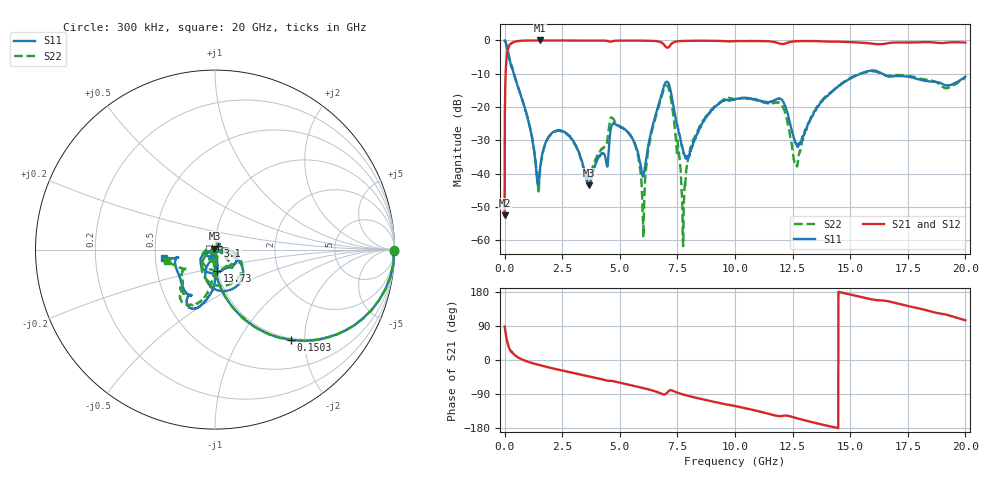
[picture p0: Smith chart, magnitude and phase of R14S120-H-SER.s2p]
!{R14S120}
!Johanson Technology Inc.
!www.johansontechnology.com
!Test Board Conditions:
!Substrate Type  RO4350B
!Substrate Thickness  20 mil
!Substrate Dk  3.66
!TL Type: GCPW
!TL Trace Width  36 mil
!TL Gap  12 mil
!Electrode orientation  Horizontal
!DUT TOPOLOGY	SERIES
!Mounting Pad LxW  26x36 mil
! Created Wed Nov 25 17:33:21 2020
! 2 Port Network Data from SP1.SP block
! freq  magS11  angS11  magS21  angS21  magS12  angS12  magS22  angS22
# khz S ma R 50
! decimated to every 10th point (10 MHz spacing) of the original 1 MHz Johanson file; values unchanged
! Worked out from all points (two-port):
!   2001 points, 300 kHz to 20 GHz, reference 50 ohm
!   highest |S21| = 0.00 dB at 1.52 GHz (marker M1); lowest = -52.6 dB at 300 kHz (marker M2)
!   |S21| within 3 dB of the highest: 133.4 MHz to end of sweep
!   lowest |S11| = -43.5 dB at 3.65 GHz (marker M3), VSWR 1.01, Z = 49.7 + j0.591 ohm
!   |S11| at or under -10 dB: 400.2 MHz to 15.46 GHz (15.06 GHz wide, 190 % of centre); 16.4 GHz to end of sweep
!   |S22| runs from -61.8 to 0.0 dB; largest |S21 - S12| = 0.019
!   S11 on the Smith chart (normalised r, x): 300 kHz: open; 150.3 MHz: 0.97, -1.72; 3.1 GHz: 1.03, +0.04; 13.73 GHz: 0.99, -0.24; 20 GHz: 0.56, -0.06
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300  0.9967 -0.3  0.002344 88.2  0.002157 90.0  0.9959 -0.3
150300  0.6569 -50.0  0.7483 40.0  0.7506 39.8  0.6594 -49.8
500300  0.2441 -79.4  0.9678 10.2  0.9676 10.2  0.2449 -79.6
1520300  0.01039 41.5  0.9995 -13.6  0.9989 -13.5  0.009423 105.5
2080300  0.04139 56.8  0.9982 -22.0  0.9984 -21.9  0.04106 77.3
3100300  0.02629 50.4  0.9975 -35.8  0.9977 -35.8  0.02567 54.4
3340300  0.01599 56.8  0.9988 -39.0  0.9977 -39.0  0.0155 37.4
3650300  0.006663 116.9  0.9971 -43.1  0.9971 -43.1  0.00843 -32.5
4690300  0.05557 -140.5  0.974 -55.3  0.9747 -55.4  0.06774 -112.0
5610300  0.03034 -160.9  0.9943 -68.3  0.9946 -68.3  0.02939 -143.1
6020300  0.009455 -86.1  0.992 -74.1  0.9925 -74.1  0.0011 -68.3
6670300  0.1039 -19.0  0.9664 -85.5  0.9658 -85.5  0.09611 -3.0
7150300  0.2109 -94.8  0.8122 -80.4  0.8113 -80.5  0.1762 -104.3
7760300  0.02135 -100.7  0.9848 -91.3  0.9838 -91.3  0.001193 -60.0
8400300  0.0421 -3.9  0.9893 -101.0  0.9888 -101.0  0.04517 -29.8
1.00003e7  0.1297 -23.9  0.9763 -121.3  0.976 -121.4  0.132 -46.4
1.20003e7  0.1312 -113.8  0.8877 -147.8  0.8889 -147.9  0.1113 -113.5
1.26403e7  0.0289 -138.2  0.973 -153.0  0.9739 -153.0  0.01418 -142.9
1.33403e7  0.07278 -79.5  0.9795 -164.0  0.9805 -163.9  0.07304 -87.8
1.37303e7  0.1177 -84.5  0.9714 -169.7  0.9738 -169.7  0.1209 -90.6
1.66703e7  0.285 -118.2  0.9123 154.8  0.9053 154.5  0.2945 -125.9
2e7  0.2863 -170.6  0.929 104.9  0.9267 105.1  0.2731 -166.3
